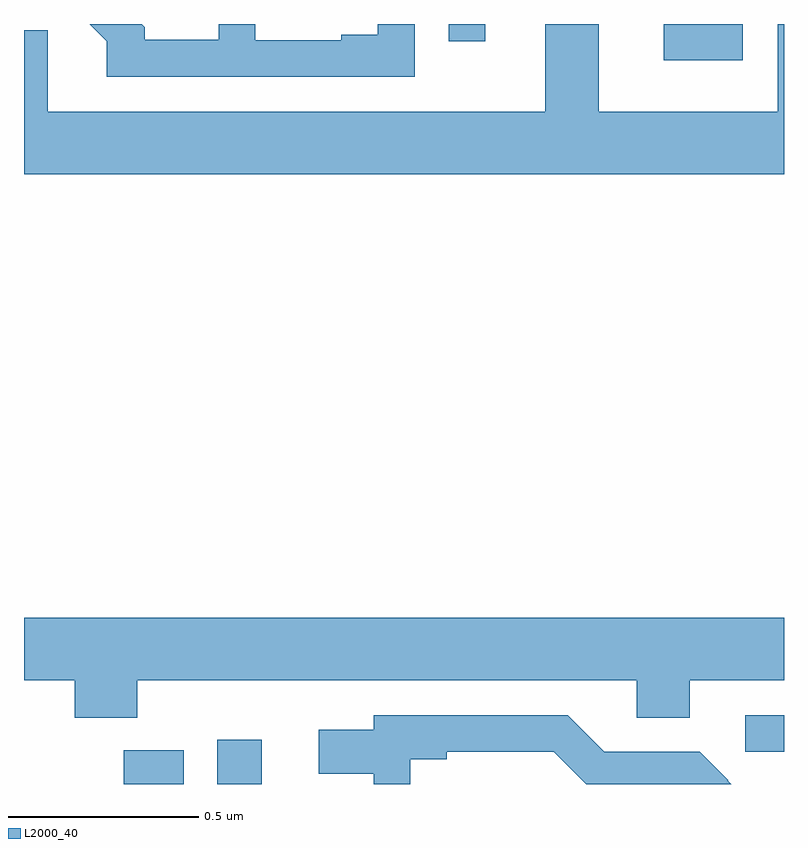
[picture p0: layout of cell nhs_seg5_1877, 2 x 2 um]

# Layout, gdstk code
import gdstk
lib = gdstk.Library(unit=1e-6, precision=1e-09)
def R(c, l, rs):  # rectangles x0, y0, x1, y1
    for r in rs: c.add(gdstk.rectangle(r[:2], r[2:], *l))
def P(c, l, *ps):  # polygons
    for p in ps: c.add(gdstk.Polygon(p, *l))
L2000_40 = (2000, 40)

nhs_seg5_1877 = lib.new_cell('nhs_seg5_1877')
R(nhs_seg5_1877, L2000_40, [(136.262,877.799,136.42,877.888), (136.508,877.799,136.626,877.915), (137.898,877.884,138,877.98), (137.684,879.704,137.892,879.799), (137.118,879.753,137.214,879.799)])
P(nhs_seg5_1877, L2000_40, [(138,879.799),(137.984,879.799),(137.984,879.568),(137.512,879.568),(137.512,879.799),(137.372,879.799),(137.372,879.568),(136.062,879.568),(136.062,879.782),(136,879.782),(136,879.404),(138,879.404)],
  [(137.028,879.799),(136.931,879.799),(136.931,879.771),(136.835,879.771),(136.835,879.756),(136.608,879.756),(136.608,879.799),(136.512,879.799),(136.512,879.757),(136.318,879.757),(136.318,879.791),(136.31,879.799),(136.173,879.799),(136.218,879.754),(136.218,879.66),(137.028,879.66)],
  [(136.298,878.072),(137.612,878.072),(137.612,877.973),(137.752,877.973),(137.752,878.072),(138,878.072),(138,878.236),(136,878.236),(136,878.072),(136.133,878.072),(136.133,877.973),(136.298,877.973)],
  [(137.017,877.864),(137.113,877.864),(137.113,877.884),(137.394,877.884),(137.479,877.799),(137.861,877.799),(137.852,877.808),(137.853,877.809),(137.778,877.884),(137.527,877.884),(137.431,877.98),(136.92,877.98),(136.92,877.942),(136.776,877.942),(136.776,877.826),(136.92,877.826),(136.92,877.799),(137.017,877.799)])

lib.write_gds('nhs_seg5_1877.gds')
